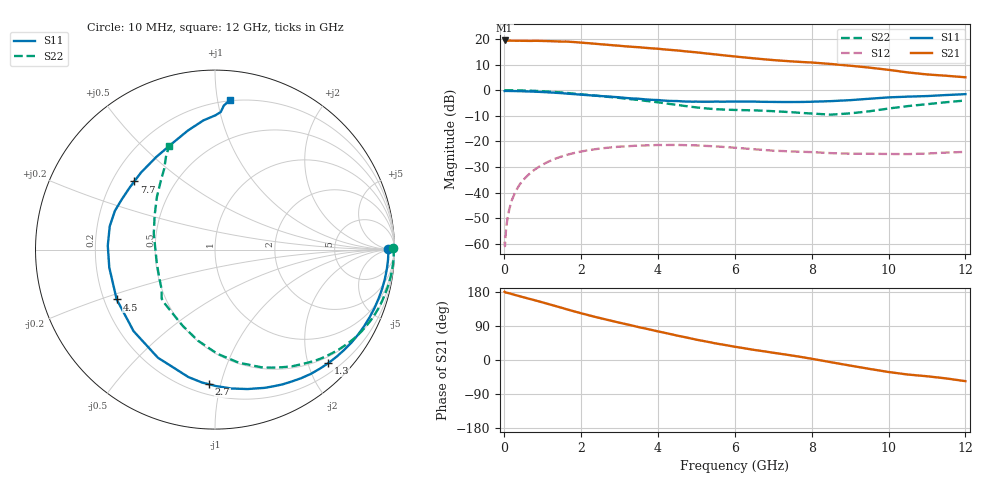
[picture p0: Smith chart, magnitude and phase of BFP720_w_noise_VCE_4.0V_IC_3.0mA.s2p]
! Infineon Technologies  Discrete & RF Semiconductors
! BFP720
! VCE =  4.0 V,  IC =  3.0 mA
! Common Emitter S-Parameters:  Aug 2012
# GHz  S  MA  R  50
!  f  S11  S21  S12  S22
! GHz  MAG  ANG  MAG  ANG  MAG  ANG  MAG  ANG
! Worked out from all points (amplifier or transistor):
!   105 points, 10 MHz to 12 GHz, reference 50 ohm
!   highest |S21| = 19.4 dB at 10 MHz (marker M1)
!   |S21| within 3 dB of that: start of sweep to 3.773 GHz
!   unconditionally stable (mu >= 1): 7.034 GHz to 11.59 GHz
!   at 300 MHz: K = 0.07, MSG = 29.4 dB, |S12| = -39.4 dB
!   at 3.6 GHz: K = 0.37, MSG = 19.1 dB, |S12| = -21.6 dB
!   at 12 GHz: K = 0.81, MSG = 14.6 dB, |S12| = -24.1 dB
!   lowest NFmin = 0.36 dB at 450 MHz
!   S11 on the Smith chart (normalised r, x): 10 MHz: 50, +2; 1.3 GHz: 0.37, -2.36; 2.7 GHz: 0.27, -0.92; 4.5 GHz: 0.25, -0.22; 7.7 GHz: 0.29, +0.34; 12 GHz: 0.20, +1.08
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0.01  0.9612 0.1  9.351 179.9  0.0011 -41.2  0.9896 0.5
0.02  0.9668 -0.6  9.196 178.7  0.0009 72.0  0.996 -0.4
0.05  0.9658 -1.6  9.3 177.9  0.002 75.5  0.9955 -1.2
0.14  0.9647 -4.7  9.286 175.7  0.005 81.7  0.9957 -3.3
0.35  0.958 -11.6  9.234 169.8  0.0124 80.4  0.9909 -8.4
0.8  0.9341 -27.2  9.212 157.5  0.0284 71.3  0.9691 -19.3
1.3  0.8937 -45.1  9.011 143.4  0.045 59.5  0.9242 -31.7
1.7  0.8499 -59.9  8.813 131.7  0.0564 50.0  0.8722 -41.3
2.1  0.8067 -73.5  8.368 120.7  0.0654 40.9  0.8176 -50.2
2.7  0.7512 -92.5  7.676 105.6  0.0753 28.8  0.7405 -62.5
3.5  0.6813 -117.8  6.903 86.7  0.083 14.7  0.6436 -78.2
4.1  0.6315 -138.4  6.331 73.4  0.085 5.2  0.5661 -90.8
4.5  0.6141 -153.1  5.976 64.4  0.0854 -0.8  0.5166 -100.5
5.1  0.5955 -172.7  5.375 51.7  0.0827 -8.9  0.4527 -115.1
5.5  0.5978 177.9  4.992 43.8  0.0799 -13.7  0.4256 -124.2
6.1  0.5991 165.7  4.473 33.4  0.0742 -18.9  0.4097 -133.4
7  0.59 151.7  3.872 19.1  0.0659 -22.6  0.3892 -139.8
7.7  0.5885 139.8  3.565 8.4  0.0628 -23.5  0.3614 -146.7
8.5  0.611 122.4  3.249 -5.8  0.059 -24.6  0.3328 -167.0
9.5  0.6804 102.8  2.759 -23.4  0.0573 -22.9  0.3871 150.3
10.5  0.7482 89.8  2.222 -38.3  0.0565 -21.8  0.4887 128.1
12  0.8363 84.4  1.787 -55.8  0.0624 -21.9  0.6295 114.1
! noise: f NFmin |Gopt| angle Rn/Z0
0.45  0.36  0.64  5  0.2
1.8  0.5  0.57  28  0.16
2.4  0.56  0.45  71  0.19
5.5  0.77  0.32  80  0.12
10  1.12  0.43  -102  0.21
